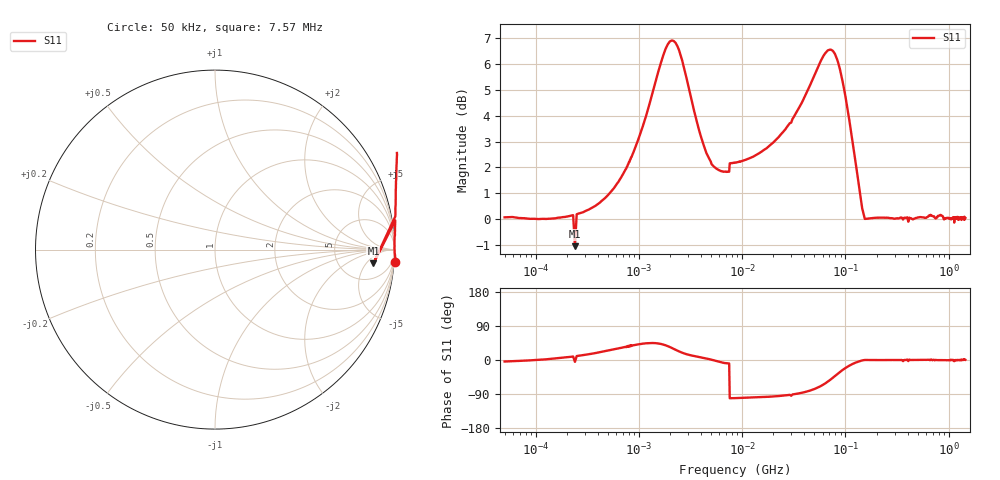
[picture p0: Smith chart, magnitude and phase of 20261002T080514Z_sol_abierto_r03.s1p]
! prueba_sol / sol_abierto / r03
# HZ S RI R 50
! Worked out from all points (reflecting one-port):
!   501 points, 50 kHz to 1.45 GHz, reference 50 ohm
!   lowest |S11| = -1.1 dB at 240 kHz (marker M1), VSWR 16.53, Z = 544 - j391 ohm
!   phase of S11 starts at -4 deg and turns +5 deg over the sweep
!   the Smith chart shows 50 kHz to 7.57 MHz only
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50000  1.005 -0.07
183000  1.003 0.1051
240000  0.8825 -0.0772
658000  1.019 0.6257
1180000  1.142 1.108
1630000  1.481 1.353
1990000  1.824 1.244
2440000  1.961 0.823
2890000  1.808 0.494
3430000  1.589 0.2958
4870000  1.3 0.0421
7300000  1.219 -0.1947
7750000  -0.2416 -1.26
8560000  -0.2358 -1.264
1.81e7  -0.1678 -1.374
3.16e7  -0.0116 -1.577
4.69e7  0.3389 -1.812
5.68e7  0.6969 -1.885
6.49e7  1.044 -1.826
7.39e7  1.399 -1.598
8.65e7  1.65 -1.102
9.82e7  1.627 -0.6738
1e8  1.611 -0.6206
1.18e8  1.376 -0.2441
1.36e8  1.148 -0.0695
1.63e8  1.002 -4.7e-05
4.06e8  0.9868 -0.0502
1.45e9  1.005 0.0125
